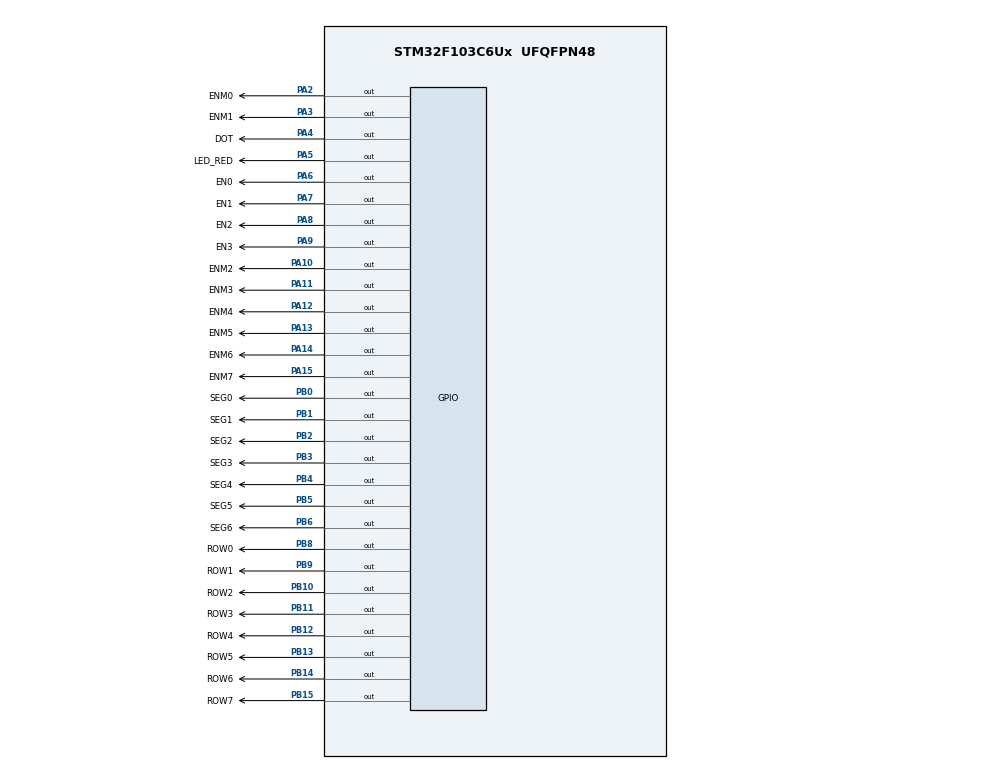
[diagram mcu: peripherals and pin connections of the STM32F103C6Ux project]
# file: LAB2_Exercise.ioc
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Mcu.Family=STM32F1
Mcu.Name=STM32F103C6Ux
Mcu.Package=UFQFPN48
NVIC.PriorityGroup=NVIC_PRIORITYGROUP_4
NVIC.TIM2_IRQn=true\:0\:0\:false\:false\:true\:true\:true
PA10.GPIO_Label=ENM2
PA10.Signal=GPIO_Output
PA11.GPIO_Label=ENM3
PA11.Signal=GPIO_Output
PA12.GPIO_Label=ENM4
PA12.Signal=GPIO_Output
PA13.GPIO_Label=ENM5
PA13.Signal=GPIO_Output
PA14.GPIO_Label=ENM6
PA14.Signal=GPIO_Output
PA15.GPIO_Label=ENM7
PA15.Signal=GPIO_Output
PA2.GPIO_Label=ENM0
PA2.Signal=GPIO_Output
PA3.GPIO_Label=ENM1
PA3.Signal=GPIO_Output
PA4.GPIO_Label=DOT
PA4.Signal=GPIO_Output
PA5.GPIO_Label=LED_RED
PA5.Signal=GPIO_Output
PA6.GPIO_Label=EN0
PA6.Signal=GPIO_Output
PA7.GPIO_Label=EN1
PA7.Signal=GPIO_Output
PA8.GPIO_Label=EN2
PA8.Signal=GPIO_Output
PA9.GPIO_Label=EN3
PA9.Signal=GPIO_Output
PB0.GPIO_Label=SEG0
PB0.Signal=GPIO_Output
PB1.GPIO_Label=SEG1
PB1.Signal=GPIO_Output
PB10.GPIO_Label=ROW2
PB10.Signal=GPIO_Output
PB11.GPIO_Label=ROW3
PB11.Signal=GPIO_Output
PB12.GPIO_Label=ROW4
PB12.Signal=GPIO_Output
PB13.GPIO_Label=ROW5
PB13.Signal=GPIO_Output
PB14.GPIO_Label=ROW6
PB14.Signal=GPIO_Output
PB15.GPIO_Label=ROW7
PB15.Signal=GPIO_Output
PB2.GPIO_Label=SEG2
PB2.Signal=GPIO_Output
PB3.GPIO_Label=SEG3
PB3.Signal=GPIO_Output
PB4.GPIO_Label=SEG4
PB4.Signal=GPIO_Output
PB5.GPIO_Label=SEG5
PB5.Signal=GPIO_Output
PB6.GPIO_Label=SEG6
PB6.Signal=GPIO_Output
PB8.GPIO_Label=ROW0
PB8.Signal=GPIO_Output
PB9.GPIO_Label=ROW1
PB9.Signal=GPIO_Output
ProjectManager.HeapSize=0x200
ProjectManager.StackSize=0x400
ProjectManager.TargetToolchain=STM32CubeIDE
RCC.APB1Freq_Value=8000000
RCC.APB2Freq_Value=8000000
TIM2.Period=9
TIM2.Prescaler=7999
VP_SYS_VS_ND.Mode=No_Debug
VP_TIM2_VS_ClockSourceINT.Mode=Internal
board=custom

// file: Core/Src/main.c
/* USER CODE BEGIN Header */
/**
  ******************************************************************************
  * @file           : main.c
  * @brief          : Main program body
  ******************************************************************************
  * @attention
  *
  * <h2><center>&copy; Copyright (c) 2025 STMicroelectronics.
  * All rights reserved.</center></h2>
  *
  * This software component is licensed by ST under BSD 3-Clause license,
  * the "License"; You may not use this file except in compliance with the
  * License. You may obtain a copy of the License at:
  *                        opensource.org/licenses/BSD-3-Clause
  *
  ******************************************************************************
  */
/* USER CODE END Header */
#include "main.h"

/* USER CODE BEGIN Includes */
#include "software_timer.h"
/* USER CODE END Includes */

TIM_HandleTypeDef htim2;

void SystemClock_Config(void);
static void MX_TIM2_Init(void);
static void MX_GPIO_Init(void);

/* USER CODE BEGIN 0 */
const int MAX_LED_MATRIX = 8;
int index_led_matrix = 0;
int shift_position = 0;
uint8_t matrix_buffer[8] = {0x00, 0x00, 0xFC, 0xFE, 0x13, 0x13, 0xFE, 0xFC};
void updateLEDMatrix(int index) {
	 HAL_GPIO_WritePin(GPIOA, ENM0_Pin | ENM1_Pin | ENM2_Pin | ENM3_Pin |
							  ENM4_Pin | ENM5_Pin | ENM6_Pin | ENM7_Pin, GPIO_PIN_SET);
	 HAL_GPIO_WritePin(GPIOB, ROW0_Pin | ROW1_Pin | ROW2_Pin | ROW3_Pin |
							  ROW4_Pin | ROW5_Pin | ROW6_Pin | ROW7_Pin, GPIO_PIN_SET);

	int shifted_index = (index + shift_position) % MAX_LED_MATRIX;
	HAL_GPIO_WritePin(ROW0_GPIO_Port, ROW0_Pin, (matrix_buffer[shifted_index] & 0x01) ? RESET : SET);
	HAL_GPIO_WritePin(ROW1_GPIO_Port, ROW1_Pin, (matrix_buffer[shifted_index] & 0x02) ? RESET : SET);
	HAL_GPIO_WritePin(ROW2_GPIO_Port, ROW2_Pin, (matrix_buffer[shifted_index] & 0x04) ? RESET : SET);
	HAL_GPIO_WritePin(ROW3_GPIO_Port, ROW3_Pin, (matrix_buffer[shifted_index] & 0x08) ? RESET : SET);
	HAL_GPIO_WritePin(ROW4_GPIO_Port, ROW4_Pin, (matrix_buffer[shifted_index] & 0x10) ? RESET : SET);
	HAL_GPIO_WritePin(ROW5_GPIO_Port, ROW5_Pin, (matrix_buffer[shifted_index] & 0x20) ? RESET : SET);
	HAL_GPIO_WritePin(ROW6_GPIO_Port, ROW6_Pin, (matrix_buffer[shifted_index] & 0x40) ? RESET : SET);
	HAL_GPIO_WritePin(ROW7_GPIO_Port, ROW7_Pin, (matrix_buffer[shifted_index] & 0x80) ? RESET : SET);
	switch(index) {
	case 0:
		HAL_GPIO_WritePin(ENM0_GPIO_Port, ENM0_Pin, RESET);
		break;
	case 1:
		HAL_GPIO_WritePin(ENM1_GPIO_Port, ENM1_Pin, RESET);
		break;
	case 2:
		HAL_GPIO_WritePin(ENM2_GPIO_Port, ENM2_Pin, RESET);
		break;
	case 3:
		HAL_GPIO_WritePin(ENM3_GPIO_Port, ENM3_Pin, RESET);
		break;
	case 4:
		HAL_GPIO_WritePin(ENM4_GPIO_Port, ENM4_Pin, RESET);
		break;
	case 5:
		HAL_GPIO_WritePin(ENM5_GPIO_Port, ENM5_Pin, RESET);
		break;
	case 6:
		HAL_GPIO_WritePin(ENM6_GPIO_Port, ENM6_Pin, RESET);
		break;
	case 7:
		HAL_GPIO_WritePin(ENM7_GPIO_Port, ENM7_Pin, RESET);
		break;
	default:
		break;
	}
}
void shiftLeft(void) {
	uint8_t temp = matrix_buffer[0]; // Save first element
	for (int i = 0; i < MAX_LED_MATRIX - 1; i++) {
		matrix_buffer[i] = matrix_buffer[i + 1]; // Shift left
	}
	matrix_buffer[MAX_LED_MATRIX - 1] = temp;
}

const int MAX_LED = 4;
int index_led = 0;
int led_buffer[4] = {1,5,0,8};
int hour = 15, minute = 8, second = 50;
uint8_t segment_digits[10][7] = {
	{0,0,0,0,0,0,1}, // 0
	{1,0,0,1,1,1,1}, // 1
	{0,0,1,0,0,1,0}, // 2
	{0,0,0,0,1,1,0}, // 3
	{1,0,0,1,1,0,0}, // 4
	{0,1,0,0,1,0,0}, // 5
	{0,1,0,0,0,0,0}, // 6
	{0,0,0,1,1,1,1}, // 7
	{0,0,0,0,0,0,0}, // 8
	{0,0,0,0,1,0,0}  // 9
};

void display7SEG(int num) {
	if (num > 9)	return;
	HAL_GPIO_WritePin(SEG0_GPIO_Port, SEG0_Pin, segment_digits[num][0] ? SET : RESET);
	HAL_GPIO_WritePin(SEG1_GPIO_Port, SEG1_Pin, segment_digits[num][1] ? SET : RESET);
	HAL_GPIO_WritePin(SEG2_GPIO_Port, SEG2_Pin, segment_digits[num][2] ? SET : RESET);
	HAL_GPIO_WritePin(SEG3_GPIO_Port, SEG3_Pin, segment_digits[num][3] ? SET : RESET);
	HAL_GPIO_WritePin(SEG4_GPIO_Port, SEG4_Pin, segment_digits[num][4] ? SET : RESET);
	HAL_GPIO_WritePin(SEG5_GPIO_Port, SEG5_Pin, segment_digits[num][5] ? SET : RESET);
	HAL_GPIO_WritePin(SEG6_GPIO_Port, SEG6_Pin, segment_digits[num][6] ? SET : RESET);
}

void update7SEG(int index) {
	switch(index) {
	case 0:
		display7SEG(led_buffer[0]);
		HAL_GPIO_WritePin(EN0_GPIO_Port, EN0_Pin, RESET);
		HAL_GPIO_WritePin(EN1_GPIO_Port, EN1_Pin, SET);
		HAL_GPIO_WritePin(EN2_GPIO_Port, EN2_Pin, SET);
		HAL_GPIO_WritePin(EN3_GPIO_Port, EN3_Pin, SET);
		break;
	case 1:
		display7SEG(led_buffer[1]);
		HAL_GPIO_WritePin(EN0_GPIO_Port, EN0_Pin, SET);
		HAL_GPIO_WritePin(EN1_GPIO_Port, EN1_Pin, RESET);
		HAL_GPIO_WritePin(EN2_GPIO_Port, EN2_Pin, SET);
		HAL_GPIO_WritePin(EN3_GPIO_Port, EN3_Pin, SET);
		break;
	case 2:
		display7SEG(led_buffer[2]);
		HAL_GPIO_WritePin(EN0_GPIO_Port, EN0_Pin, SET);
		HAL_GPIO_WritePin(EN1_GPIO_Port, EN1_Pin, SET);
		HAL_GPIO_WritePin(EN2_GPIO_Port, EN2_Pin, RESET);
		HAL_GPIO_WritePin(EN3_GPIO_Port, EN3_Pin, SET);
		break;
	case 3:
		display7SEG(led_buffer[3]);
		HAL_GPIO_WritePin(EN0_GPIO_Port, EN0_Pin, SET);
		HAL_GPIO_WritePin(EN1_GPIO_Port, EN1_Pin, SET);
		HAL_GPIO_WritePin(EN2_GPIO_Port, EN2_Pin, SET);
		HAL_GPIO_WritePin(EN3_GPIO_Port, EN3_Pin, RESET);
	default:
		break;
	}
}
void updateClockBuffer() {
	led_buffer[0] = hour/10;
	led_buffer[1] = hour%10;
	led_buffer[2] = minute/10;
	led_buffer[3] = minute%10;
}

/* USER CODE END 0 */

int main(void)
{

  /* MCU Configuration--------------------------------------------------------*/

  /* Reset of all peripherals, Initializes the Flash interface and the Systick. */
  HAL_Init();

  /* Configure the system clock */
  SystemClock_Config();

  /* Initialize all configured peripherals */
  MX_TIM2_Init();
  MX_GPIO_Init();
  /* USER CODE BEGIN 2 */
  HAL_TIM_Base_Start_IT (& htim2 );
  /* USER CODE END 2 */

  /* Infinite loop */
  /* USER CODE BEGIN WHILE */
  setTimer0(1000);
  setTimer1(70);
  setTimer2(10);
  setTimer3(240);
  while (1)
  {
	  if (timer0_flag == 1) {
		  HAL_GPIO_TogglePin(LED_RED_GPIO_Port, LED_RED_Pin);
		  HAL_GPIO_TogglePin(DOT_GPIO_Port, DOT_Pin);
		  second++;
	  if (second >= 60) {
		  second = 0;
		  minute++;
	  }
	  if (minute >= 60) {
		  minute = 0;
		  hour++;
	  }
	  if (hour >= 24) {
		  hour = 0;
	  }
	  	  updateClockBuffer();
		  setTimer0(1000);
	  }
	  if (timer1_flag == 1) {
		  updateLEDMatrix(index_led_matrix++);
		  if (index_led_matrix >= MAX_LED_MATRIX) {
			  index_led_matrix = 0;
		  }
		  setTimer1(20);
	  }
	  if (timer3_flag == 1) {
		  shiftLeft();
		  shift_position = (shift_position + 1) % MAX_LED_MATRIX;
		  setTimer3(160);
	  }
	  if (timer2_flag == 1) {
		  update7SEG(index_led++);
		  if (index_led >= MAX_LED) index_led = 0;
		  setTimer2(250);
	  }
    /* USER CODE END WHILE */

  }
}

void SystemClock_Config(void)
{
  RCC_OscInitTypeDef RCC_OscInitStruct = {0};
  RCC_ClkInitTypeDef RCC_ClkInitStruct = {0};

  /** Initializes the RCC Oscillators according to the specified parameters
  * in the RCC_OscInitTypeDef structure.
  */
  RCC_OscInitStruct.OscillatorType = RCC_OSCILLATORTYPE_HSI;
  RCC_OscInitStruct.HSIState = RCC_HSI_ON;
  RCC_OscInitStruct.HSICalibrationValue = RCC_HSICALIBRATION_DEFAULT;
  RCC_OscInitStruct.PLL.PLLState = RCC_PLL_NONE;
  if (HAL_RCC_OscConfig(&RCC_OscInitStruct) != HAL_OK)
  {
    Error_Handler();
  }
  /** Initializes the CPU, AHB and APB buses clocks
  */
  RCC_ClkInitStruct.ClockType = RCC_CLOCKTYPE_HCLK|RCC_CLOCKTYPE_SYSCLK
                              |RCC_CLOCKTYPE_PCLK1|RCC_CLOCKTYPE_PCLK2;
  RCC_ClkInitStruct.SYSCLKSource = RCC_SYSCLKSOURCE_HSI;
  RCC_ClkInitStruct.AHBCLKDivider = RCC_SYSCLK_DIV1;
  RCC_ClkInitStruct.APB1CLKDivider = RCC_HCLK_DIV1;
  RCC_ClkInitStruct.APB2CLKDivider = RCC_HCLK_DIV1;

  if (HAL_RCC_ClockConfig(&RCC_ClkInitStruct, FLASH_LATENCY_0) != HAL_OK)
  {
    Error_Handler();
  }
}

static void MX_TIM2_Init(void)
{

  TIM_ClockConfigTypeDef sClockSourceConfig = {0};
  TIM_MasterConfigTypeDef sMasterConfig = {0};

  htim2.Instance = TIM2;
  htim2.Init.Prescaler = 7999;
  htim2.Init.CounterMode = TIM_COUNTERMODE_UP;
  htim2.Init.Period = 9;
  htim2.Init.ClockDivision = TIM_CLOCKDIVISION_DIV1;
  htim2.Init.AutoReloadPreload = TIM_AUTORELOAD_PRELOAD_DISABLE;
  if (HAL_TIM_Base_Init(&htim2) != HAL_OK)
  {
    Error_Handler();
  }
  sClockSourceConfig.ClockSource = TIM_CLOCKSOURCE_INTERNAL;
  if (HAL_TIM_ConfigClockSource(&htim2, &sClockSourceConfig) != HAL_OK)
  {
    Error_Handler();
  }
  sMasterConfig.MasterOutputTrigger = TIM_TRGO_RESET;
  sMasterConfig.MasterSlaveMode = TIM_MASTERSLAVEMODE_DISABLE;
  if (HAL_TIMEx_MasterConfigSynchronization(&htim2, &sMasterConfig) != HAL_OK)
  {
    Error_Handler();
  }

}

static void MX_GPIO_Init(void)
{
  GPIO_InitTypeDef GPIO_InitStruct = {0};

  /* GPIO Ports Clock Enable */
  __HAL_RCC_GPIOA_CLK_ENABLE();
  __HAL_RCC_GPIOB_CLK_ENABLE();

  /*Configure GPIO pin Output Level */
  HAL_GPIO_WritePin(GPIOA, ENM0_Pin|ENM1_Pin|DOT_Pin|LED_RED_Pin
                          |EN0_Pin|EN1_Pin|EN2_Pin|EN3_Pin
                          |ENM2_Pin|ENM3_Pin|ENM4_Pin|ENM5_Pin
                          |ENM6_Pin|ENM7_Pin, GPIO_PIN_RESET);

  /*Configure GPIO pin Output Level */
  HAL_GPIO_WritePin(GPIOB, SEG0_Pin|SEG1_Pin|SEG2_Pin|ROW2_Pin
                          |ROW3_Pin|ROW4_Pin|ROW5_Pin|ROW6_Pin
                          |ROW7_Pin|SEG3_Pin|SEG4_Pin|SEG5_Pin
                          |SEG6_Pin|ROW0_Pin|ROW1_Pin, GPIO_PIN_RESET);

  /*Configure GPIO pins : ENM0_Pin ENM1_Pin DOT_Pin LED_RED_Pin
                           EN0_Pin EN1_Pin EN2_Pin EN3_Pin
                           ENM2_Pin ENM3_Pin ENM4_Pin ENM5_Pin
                           ENM6_Pin ENM7_Pin */
  GPIO_InitStruct.Pin = ENM0_Pin|ENM1_Pin|DOT_Pin|LED_RED_Pin
                          |EN0_Pin|EN1_Pin|EN2_Pin|EN3_Pin
                          |ENM2_Pin|ENM3_Pin|ENM4_Pin|ENM5_Pin
                          |ENM6_Pin|ENM7_Pin;
  GPIO_InitStruct.Mode = GPIO_MODE_OUTPUT_PP;
  GPIO_InitStruct.Pull = GPIO_NOPULL;
  GPIO_InitStruct.Speed = GPIO_SPEED_FREQ_LOW;
  HAL_GPIO_Init(GPIOA, &GPIO_InitStruct);

  /*Configure GPIO pins : SEG0_Pin SEG1_Pin SEG2_Pin ROW2_Pin
                           ROW3_Pin ROW4_Pin ROW5_Pin ROW6_Pin
                           ROW7_Pin SEG3_Pin SEG4_Pin SEG5_Pin
                           SEG6_Pin ROW0_Pin ROW1_Pin */
  GPIO_InitStruct.Pin = SEG0_Pin|SEG1_Pin|SEG2_Pin|ROW2_Pin
                          |ROW3_Pin|ROW4_Pin|ROW5_Pin|ROW6_Pin
                          |ROW7_Pin|SEG3_Pin|SEG4_Pin|SEG5_Pin
                          |SEG6_Pin|ROW0_Pin|ROW1_Pin;
  GPIO_InitStruct.Mode = GPIO_MODE_OUTPUT_PP;
  GPIO_InitStruct.Pull = GPIO_NOPULL;
  GPIO_InitStruct.Speed = GPIO_SPEED_FREQ_LOW;
  HAL_GPIO_Init(GPIOB, &GPIO_InitStruct);

}

/* USER CODE BEGIN 4 */

void HAL_TIM_PeriodElapsedCallback ( TIM_HandleTypeDef * htim ){
	timer_run();
}
/* USER CODE END 4 */

void Error_Handler(void)
{
  __disable_irq();
  while (1)
  {
  }
}

/************************ (C) COPYRIGHT STMicroelectronics *****END OF FILE****/
